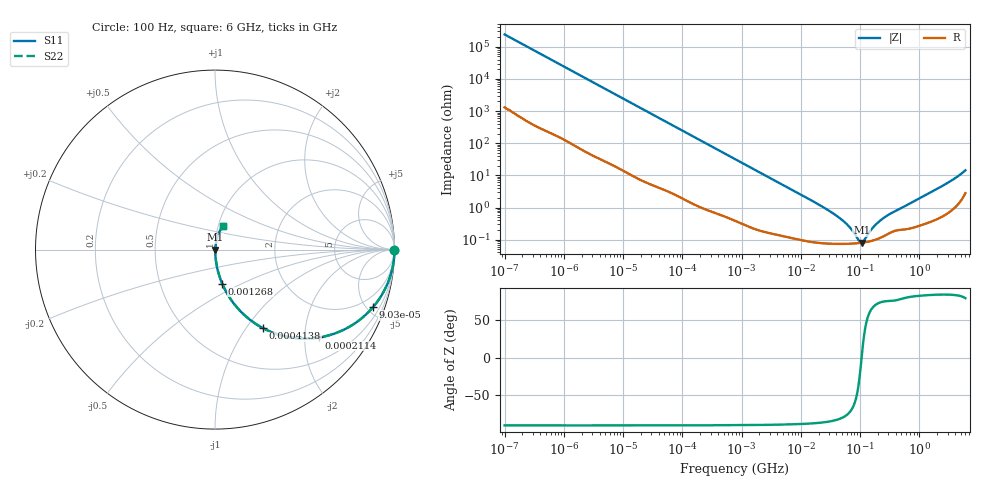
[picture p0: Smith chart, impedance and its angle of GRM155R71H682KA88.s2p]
!Murata Part Number: GRM155R71H682KA88
!These Parameters are Measured in Series Mode Connection
!Data Generated on Mar 30, 2021
!  o--ll--o
!Port1  Port2
!  o------o
!Operation Temp=25[degC], DC Bias Voltage=0[V]
!Freq. Start=100[Hz] Stop=6[GHz] 401[Steps]
# Hz S RI R 50
!Freq.(Hz) S11(Real) S11(Imag) S21(Real) S21(Imag) S12(Real) S12(Imag) S22(Real) S22(Imag)
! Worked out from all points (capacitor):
!   401 points, 100 Hz to 6 GHz, reference 50 ohm
!   read as one part in series: C = 6.57 nF near 109 Hz
!   lowest |Z| = 80 mohm at 106.7 MHz (marker M1)
!   series resonance near 106.2 MHz, so ESL is about 340 pH
!   S11 on the Smith chart (normalised r, x): 100 Hz: open; 90.3 kHz: 1.04, -5.49; 211.4 kHz: 1.02, -2.35; 413.8 kHz: 1.01, -1.21; 1.268 MHz: 1.01, -0.40; 6 GHz: 1.06, +0.28
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100  1 -0.000413  2.4e-06 0.000413  2.4e-06 0.000413  1 -0.000413
2008  0.9999 -0.00822  0.00011 0.00822  0.00011 0.00822  0.9999 -0.00822
12592  0.9971 -0.0511  0.0029 0.0511  0.0029 0.0511  0.9971 -0.0511
40335  0.973 -0.1588  0.027 0.1588  0.027 0.1588  0.973 -0.1588
90302  0.8809 -0.3201  0.1191 0.3201  0.1191 0.3201  0.8809 -0.3201
135116  0.7697 -0.4171  0.2303 0.4171  0.2303 0.4171  0.7697 -0.4171
211427  0.5799 -0.4894  0.4201 0.4894  0.4201 0.4894  0.5799 -0.4894
413847  0.2688 -0.4383  0.7312 0.4383  0.7312 0.4383  0.2688 -0.4383
774597  0.0976 -0.2909  0.9024 0.2909  0.9024 0.2909  0.0976 -0.2909
1267578  0.0401 -0.1899  0.9599 0.1899  0.9599 0.1899  0.0401 -0.1899
3549919  0.00649 -0.0706  0.9935 0.0706  0.9935 0.0706  0.00649 -0.0706
1.555665e7  0.0011 -0.0161  0.9989 0.0161  0.9989 0.0161  0.0011 -0.0161
4.983056e7  0.000752 -0.00401  0.9992 0.00401  0.9992 0.00401  0.000752 -0.00401
6.817316e7  0.000751 -0.00221  0.9992 0.00221  0.9992 0.00221  0.000751 -0.00221
9.753859e7  0.000784 -0.00041  0.9992 0.00041  0.9992 0.00041  0.000784 -0.00041
1.066761e8  0.000799 2.23e-05  0.9992 -2.23e-05  0.9992 -2.23e-05  0.000799 2.23e-05
1.166697e8  0.000818 0.000454  0.9992 -0.000454  0.9992 -0.000454  0.000818 0.000454
1.526266e8  0.000905 0.00178  0.9991 -0.00178  0.9991 -0.00178  0.000905 0.00178
1.825626e8  0.001 0.00272  0.999 -0.00272  0.999 -0.00272  0.001 0.00272
3.124326e8  0.00162 0.00594  0.9984 -0.00594  0.9984 -0.00594  0.00162 0.00594
2.450438e9  0.00733 0.046  0.9927 -0.046  0.9927 -0.046  0.00733 0.046
6e9  0.0451 0.131  0.9549 -0.131  0.9549 -0.131  0.0451 0.131
